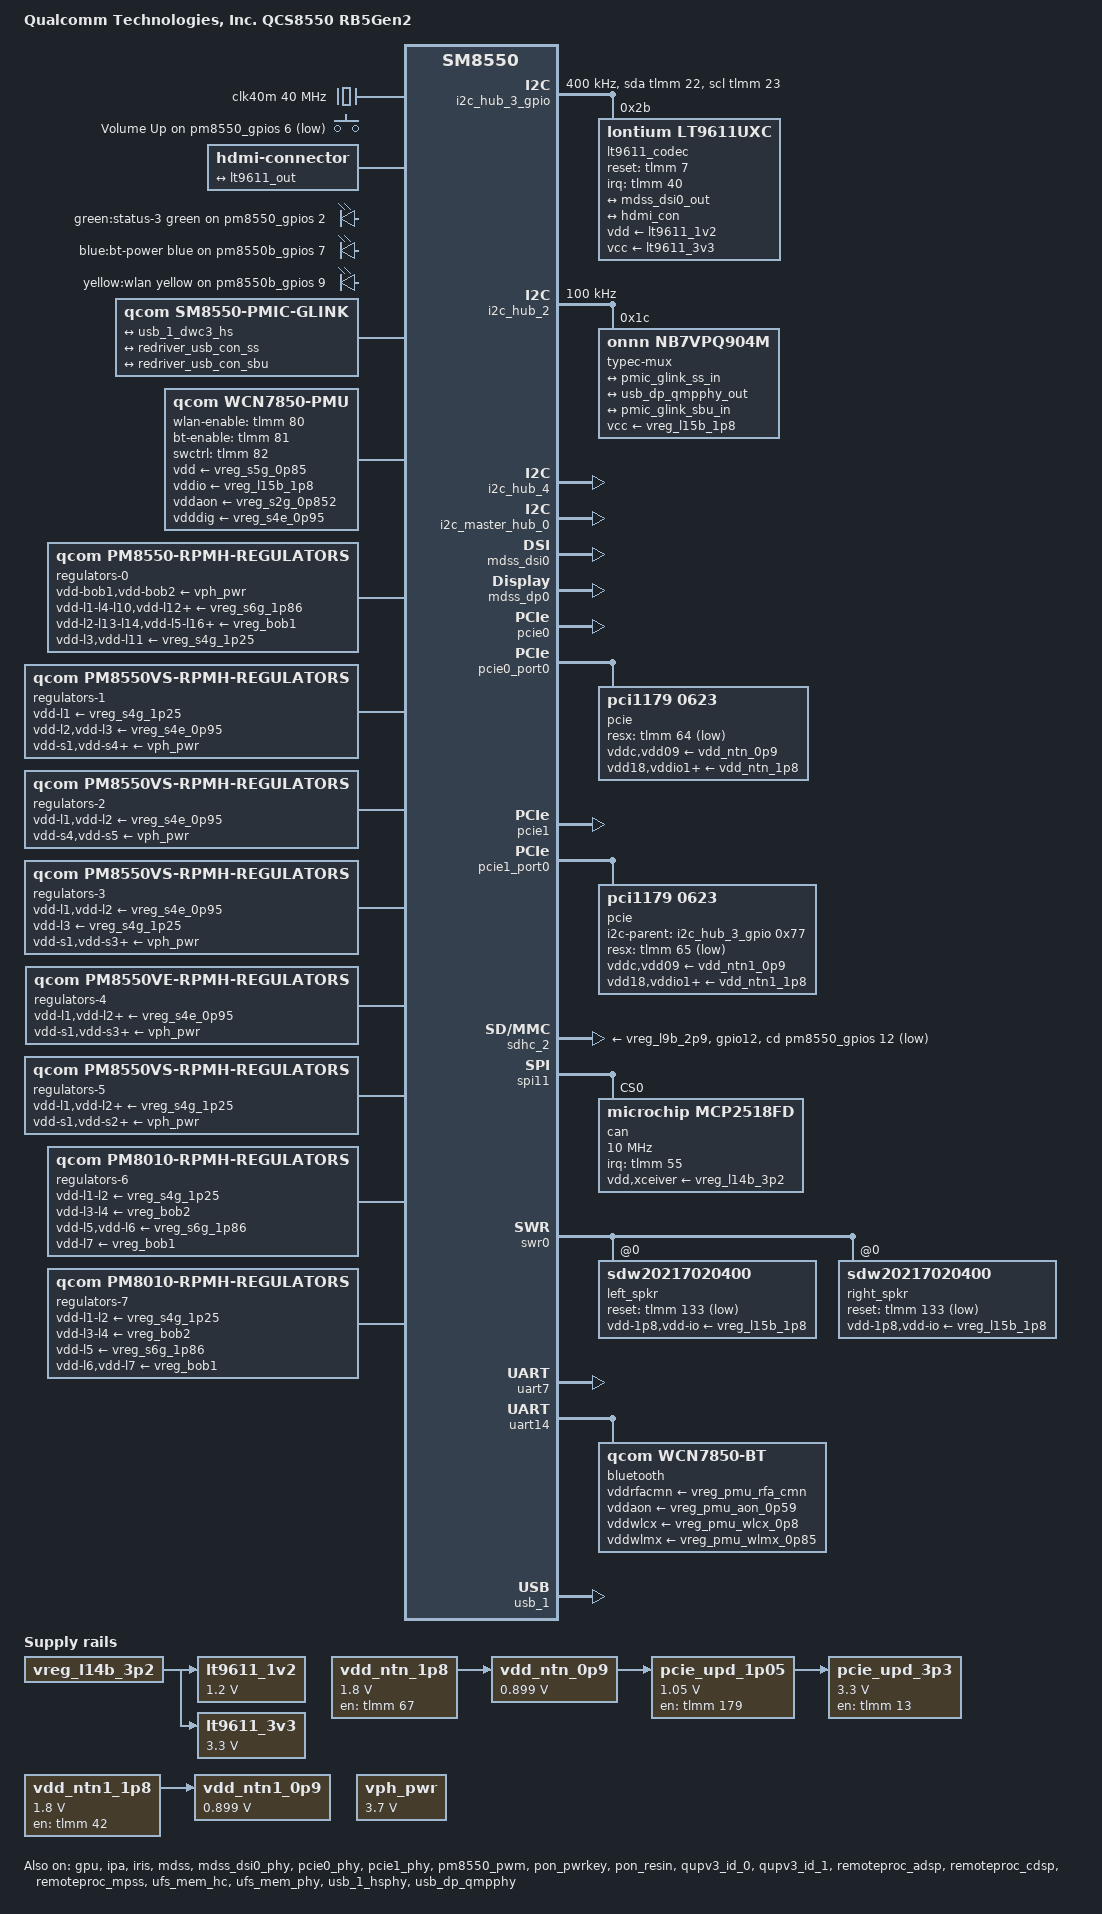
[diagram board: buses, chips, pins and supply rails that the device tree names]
// SPDX-License-Identifier: BSD-3-Clause
/*
 * Copyright (c) 2026 Axon Enterprise, Inc.
 */

/dts-v1/;

#include <dt-bindings/leds/common.h>
#include <dt-bindings/pinctrl/qcom,pmic-gpio.h>
#include <dt-bindings/regulator/qcom,rpmh-regulator.h>
#include "qcs8550.dtsi"
#include "pm8010.dtsi"
#include "pm8550.dtsi"
#include "pm8550b.dtsi"
#define PMK8550VE_SID 5
#include "pm8550ve.dtsi"
#include "pm8550vs.dtsi"
#include "pmk8550.dtsi"
#include "pmr735d_a.dtsi"
#include "pmr735d_b.dtsi"

/ {
	model = "Qualcomm Technologies, Inc. QCS8550 RB5Gen2";
	compatible = "qcom,qcs8550-rb5gen2", "qcom,qcs8550", "qcom,sm8550";
	chassis-type = "embedded";

	aliases {
		serial0 = &uart7;
	};

	chosen {
		stdout-path = "serial0:115200n8";
	};

	clocks {
		clk40m: can-clk {
			compatible = "fixed-clock";
			clock-frequency = <40000000>;
			#clock-cells = <0>;
		};
	};

	gpio-keys {
		compatible = "gpio-keys";

		pinctrl-0 = <&volume_up_n>;
		pinctrl-names = "default";

		key-volume-up {
			label = "Volume Up";
			linux,code = <KEY_VOLUMEUP>;
			gpios = <&pm8550_gpios 6 GPIO_ACTIVE_LOW>;
			debounce-interval = <15>;
			linux,can-disable;
			wakeup-source;
		};
	};

	hdmi-connector {
		compatible = "hdmi-connector";
		type = "a";

		port {
			hdmi_con: endpoint {
				remote-endpoint = <&lt9611_out>;
			};
		};
	};

	/* Lontium LT9611UXC fails FW upgrade and has timeouts with geni-i2c */
	/* Workaround is to use bit-banged I2C */
	i2c_hub_3_gpio: i2c {
		compatible = "i2c-gpio";

		sda-gpios = <&tlmm 22 (GPIO_ACTIVE_HIGH | GPIO_OPEN_DRAIN)>;
		scl-gpios = <&tlmm 23 (GPIO_ACTIVE_HIGH | GPIO_OPEN_DRAIN)>;
		#address-cells = <1>;
		#size-cells = <0>;
	};

	leds {
		compatible = "gpio-leds";

		led-0 {
			label = "green:status-3";
			function = LED_FUNCTION_STATUS;
			color = <LED_COLOR_ID_GREEN>;
			gpios = <&pm8550_gpios 2 GPIO_ACTIVE_HIGH>;
			default-state = "off";
		};

		led-1 {
			label = "blue:bt-power";
			function = LED_FUNCTION_BLUETOOTH;
			color = <LED_COLOR_ID_BLUE>;
			gpios = <&pm8550b_gpios 7 GPIO_ACTIVE_HIGH>;
			linux,default-trigger = "bluetooth-power";
			default-state = "off";
		};

		led-2 {
			label = "yellow:wlan";
			function = LED_FUNCTION_WLAN;
			color = <LED_COLOR_ID_YELLOW>;
			gpios = <&pm8550b_gpios 9 GPIO_ACTIVE_HIGH>;
			linux,default-trigger = "phy0tx";
			default-state = "off";
		};
	};

	pmic-glink {
		compatible = "qcom,sm8550-pmic-glink", "qcom,pmic-glink";
		#address-cells = <1>;
		#size-cells = <0>;

		connector@0 {
			compatible = "usb-c-connector";
			reg = <0>;
			power-role = "dual";
			data-role = "dual";

			ports {
				#address-cells = <1>;
				#size-cells = <0>;

				port@0 {
					reg = <0>;

					pmic_glink_hs_in: endpoint {
						remote-endpoint = <&usb_1_dwc3_hs>;
					};
				};

				port@1 {
					reg = <1>;

					pmic_glink_ss_in: endpoint {
						remote-endpoint = <&redriver_usb_con_ss>;
					};
				};

				port@2 {
					reg = <2>;

					pmic_glink_sbu_in: endpoint {
						remote-endpoint = <&redriver_usb_con_sbu>;
					};
				};
			};
		};
	};

	lt9611_1v2: regulator-lt9611-1v2 {
		compatible = "regulator-fixed";
		regulator-name = "LT9611_1V2";

		regulator-min-microvolt = <1200000>;
		regulator-max-microvolt = <1200000>;

		vin-supply = <&vreg_l14b_3p2>;
	};

	lt9611_3v3: regulator-lt9611-3v3 {
		compatible = "regulator-fixed";
		regulator-name = "LT9611_3V3";

		regulator-min-microvolt = <3300000>;
		regulator-max-microvolt = <3300000>;

		vin-supply = <&vreg_l14b_3p2>;
	};

	pcie_upd_1p05: regulator-pcie-upd-1p05 {
		compatible = "regulator-fixed";
		regulator-name = "PCIE_UPD_1P05";
		gpio = <&tlmm 179 GPIO_ACTIVE_HIGH>;
		vin-supply = <&vdd_ntn_0p9>;
		regulator-min-microvolt = <1050000>;
		regulator-max-microvolt = <1050000>;
		enable-active-high;
		regulator-enable-ramp-delay = <5000>;
		pinctrl-0 = <&upd_1p05_en>;
		pinctrl-names = "default";
	};

	pcie_upd_3p3: regulator-pcie-upd-3p3 {
		compatible = "regulator-fixed";
		regulator-name = "PCIE_UPD_3P3";
		gpio = <&tlmm 13 GPIO_ACTIVE_HIGH>;
		vin-supply = <&pcie_upd_1p05>;
		regulator-min-microvolt = <3300000>;
		regulator-max-microvolt = <3300000>;
		enable-active-high;
		regulator-enable-ramp-delay = <10000>;
		pinctrl-0 = <&upd_3p3_en>;
		pinctrl-names = "default";
	};

	vdd_ntn_0p9: regulator-vdd-ntn-0p9 {
		compatible = "regulator-fixed";
		regulator-name = "VDD_NTN_0P9";
		vin-supply = <&vdd_ntn_1p8>;
		regulator-min-microvolt = <899400>;
		regulator-max-microvolt = <899400>;
		regulator-enable-ramp-delay = <4300>;
	};

	vdd_ntn_1p8: regulator-vdd-ntn-1p8 {
		compatible = "regulator-fixed";
		regulator-name = "VDD_NTN_1P8";
		gpio = <&tlmm 67 GPIO_ACTIVE_HIGH>;
		regulator-min-microvolt = <1800000>;
		regulator-max-microvolt = <1800000>;
		enable-active-high;
		pinctrl-0 = <&ntn0_en>;
		pinctrl-names = "default";
		regulator-enable-ramp-delay = <10000>;
	};

	vdd_ntn1_0p9: regulator-vdd-ntn1-0p9 {
		compatible = "regulator-fixed";
		regulator-name = "VDD_NTN1_0P9";
		vin-supply = <&vdd_ntn1_1p8>;
		regulator-min-microvolt = <899400>;
		regulator-max-microvolt = <899400>;
		regulator-enable-ramp-delay = <4300>;
	};

	vdd_ntn1_1p8: regulator-vdd-ntn1-1p8 {
		compatible = "regulator-fixed";
		regulator-name = "VDD_NTN1_1P8";
		gpio = <&tlmm 42 GPIO_ACTIVE_HIGH>;
		regulator-min-microvolt = <1800000>;
		regulator-max-microvolt = <1800000>;
		enable-active-high;
		pinctrl-0 = <&ntn1_en>;
		pinctrl-names = "default";
		regulator-enable-ramp-delay = <10000>;
	};

	vph_pwr: regulator-vph-pwr {
		compatible = "regulator-fixed";
		regulator-name = "vph_pwr";
		regulator-min-microvolt = <3700000>;
		regulator-max-microvolt = <3700000>;

		regulator-always-on;
		regulator-boot-on;
	};

	sound {
		compatible = "qcom,sm8550-sndcard", "qcom,sm8450-sndcard";
		model = "QCS8550-RB5Gen2";
		audio-routing = "SpkrLeft IN", "WSA_SPK1 OUT",
				"SpkrRight IN", "WSA_SPK2 OUT",
				"VA DMIC0", "vdd-micb",
				"VA DMIC1", "vdd-micb";

		wsa-dai-link {
			link-name = "WSA Playback";

			codec {
				sound-dai = <&left_spkr>, <&right_spkr>,
					    <&swr0 0>, <&lpass_wsamacro 0>;
			};

			cpu {
				sound-dai = <&q6apmbedai WSA_CODEC_DMA_RX_0>;
			};

			platform {
				sound-dai = <&q6apm>;
			};
		};

		va-dai-link {
			link-name = "VA Capture";

			codec {
				sound-dai = <&lpass_vamacro 0>;
			};

			cpu {
				sound-dai = <&q6apmbedai VA_CODEC_DMA_TX_0>;
			};

			platform {
				sound-dai = <&q6apm>;
			};
		};
	};

	wcn7850-pmu {
		compatible = "qcom,wcn7850-pmu";

		pinctrl-0 = <&wlan_en>, <&bt_default>, <&sw_ctrl_default>,
			    <&pmk8550_sleep_clk>;
		pinctrl-names = "default";

		wlan-enable-gpios = <&tlmm 80 GPIO_ACTIVE_HIGH>;
		bt-enable-gpios = <&tlmm 81 GPIO_ACTIVE_HIGH>;
		swctrl-gpios = <&tlmm 82 GPIO_ACTIVE_HIGH>;

		vdd-supply = <&vreg_s5g_0p85>;
		vddio-supply = <&vreg_l15b_1p8>;
		vddaon-supply = <&vreg_s2g_0p852>;
		vdddig-supply = <&vreg_s4e_0p95>;
		vddrfa1p2-supply = <&vreg_s4g_1p25>;
		vddrfa1p8-supply = <&vreg_s6g_1p86>;

		regulators {
			vreg_pmu_rfa_cmn: ldo0 {
				regulator-name = "vreg_pmu_rfa_cmn";
			};

			vreg_pmu_aon_0p59: ldo1 {
				regulator-name = "vreg_pmu_aon_0p59";
			};

			vreg_pmu_wlcx_0p8: ldo2 {
				regulator-name = "vreg_pmu_wlcx_0p8";
			};

			vreg_pmu_wlmx_0p85: ldo3 {
				regulator-name = "vreg_pmu_wlmx_0p85";
			};

			vreg_pmu_btcmx_0p85: ldo4 {
				regulator-name = "vreg_pmu_btcmx_0p85";
			};

			vreg_pmu_rfa_0p8: ldo5 {
				regulator-name = "vreg_pmu_rfa_0p8";
			};

			vreg_pmu_rfa_1p2: ldo6 {
				regulator-name = "vreg_pmu_rfa_1p2";
			};

			vreg_pmu_rfa_1p8: ldo7 {
				regulator-name = "vreg_pmu_rfa_1p8";
			};

			vreg_pmu_pcie_0p9: ldo8 {
				regulator-name = "vreg_pmu_pcie_0p9";
			};

			vreg_pmu_pcie_1p8: ldo9 {
				regulator-name = "vreg_pmu_pcie_1p8";
			};
		};
	};
};

&apps_rsc {
	regulators-0 {
		compatible = "qcom,pm8550-rpmh-regulators";
		qcom,pmic-id = "b";

		vdd-bob1-supply = <&vph_pwr>;
		vdd-bob2-supply = <&vph_pwr>;
		vdd-l1-l4-l10-supply = <&vreg_s6g_1p86>;
		vdd-l2-l13-l14-supply = <&vreg_bob1>;
		vdd-l3-supply = <&vreg_s4g_1p25>;
		vdd-l5-l16-supply = <&vreg_bob1>;
		vdd-l6-l7-supply = <&vreg_bob1>;
		vdd-l8-l9-supply = <&vreg_bob1>;
		vdd-l11-supply = <&vreg_s4g_1p25>;
		vdd-l12-supply = <&vreg_s6g_1p86>;
		vdd-l15-supply = <&vreg_s6g_1p86>;
		vdd-l17-supply = <&vreg_bob2>;

		vreg_bob1: bob1 {
			regulator-name = "vreg_bob1";
			regulator-min-microvolt = <3296000>;
			regulator-max-microvolt = <3960000>;
			regulator-initial-mode = <RPMH_REGULATOR_MODE_HPM>;
		};

		vreg_bob2: bob2 {
			regulator-name = "vreg_bob2";
			regulator-min-microvolt = <2720000>;
			regulator-max-microvolt = <3960000>;
			regulator-initial-mode = <RPMH_REGULATOR_MODE_HPM>;
		};

		vreg_l1b_1p8: ldo1 {
			regulator-name = "vreg_l1b_1p8";
			regulator-min-microvolt = <1710000>;
			regulator-max-microvolt = <1950000>;
			regulator-initial-mode = <RPMH_REGULATOR_MODE_HPM>;
		};

		vreg_l2b_3p0: ldo2 {
			regulator-name = "vreg_l2b_3p0";
			regulator-min-microvolt = <2900000>;
			regulator-max-microvolt = <3544000>;
			regulator-initial-mode = <RPMH_REGULATOR_MODE_HPM>;
		};

		vreg_l5b_3p1: ldo5 {
			regulator-name = "vreg_l5b_3p1";
			regulator-min-microvolt = <3000000>;
			regulator-max-microvolt = <3300000>;
			regulator-initial-mode = <RPMH_REGULATOR_MODE_HPM>;
		};

		vreg_l6b_1p8: ldo6 {
			regulator-name = "vreg_l6b_1p8";
			regulator-min-microvolt = <1700000>;
			regulator-max-microvolt = <3300000>;
			regulator-initial-mode = <RPMH_REGULATOR_MODE_HPM>;
		};

		vreg_l7b_1p8: ldo7 {
			regulator-name = "vreg_l7b_1p8";
			regulator-min-microvolt = <1700000>;
			regulator-max-microvolt = <3300000>;
			regulator-initial-mode = <RPMH_REGULATOR_MODE_HPM>;
		};

		vreg_l8b_1p8: ldo8 {
			regulator-name = "vreg_l8b_1p8";
			regulator-min-microvolt = <1800000>;
			regulator-max-microvolt = <3008000>;
			regulator-initial-mode = <RPMH_REGULATOR_MODE_HPM>;
		};

		vreg_l9b_2p9: ldo9 {
			regulator-name = "vreg_l9b_2p9";
			regulator-min-microvolt = <2960000>;
			regulator-max-microvolt = <3008000>;
			regulator-initial-mode = <RPMH_REGULATOR_MODE_HPM>;
		};

		vreg_l11b_1p2: ldo11 {
			regulator-name = "vreg_l11b_1p2";
			regulator-min-microvolt = <1100000>;
			regulator-max-microvolt = <1300000>;
			regulator-initial-mode = <RPMH_REGULATOR_MODE_HPM>;
		};

		vreg_l12b_1p8: ldo12 {
			regulator-name = "vreg_l12b_1p8";
			regulator-min-microvolt = <1710000>;
			regulator-max-microvolt = <1950000>;
			regulator-initial-mode = <RPMH_REGULATOR_MODE_HPM>;
		};

		vreg_l13b_3p0: ldo13 {
			regulator-name = "vreg_l13b_3p0";
			regulator-min-microvolt = <2700000>;
			regulator-max-microvolt = <3300000>;
			regulator-initial-mode = <RPMH_REGULATOR_MODE_HPM>;
		};

		vreg_l14b_3p2: ldo14 {
			regulator-name = "vreg_l14b_3p2";
			regulator-min-microvolt = <3200000>;
			regulator-max-microvolt = <3300000>;
			regulator-initial-mode = <RPMH_REGULATOR_MODE_HPM>;
			regulator-always-on;
		};

		vreg_l15b_1p8: ldo15 {
			regulator-name = "vreg_l15b_1p8";
			regulator-min-microvolt = <1760000>;
			regulator-max-microvolt = <1800000>;
			regulator-initial-mode = <RPMH_REGULATOR_MODE_HPM>;
		};

		vreg_l16b_2p8: ldo16 {
			regulator-name = "vreg_l16b_2p8";
			regulator-min-microvolt = <2000000>;
			regulator-max-microvolt = <3400000>;
			regulator-initial-mode = <RPMH_REGULATOR_MODE_HPM>;
		};

		vreg_l17b_2p5: ldo17 {
			regulator-name = "vreg_l17b_2p5";
			regulator-min-microvolt = <2400000>;
			regulator-max-microvolt = <3300000>;
			regulator-initial-mode = <RPMH_REGULATOR_MODE_HPM>;
		};
	};

	regulators-1 {
		compatible = "qcom,pm8550vs-rpmh-regulators";
		qcom,pmic-id = "c";

		vdd-l1-supply = <&vreg_s4g_1p25>;
		vdd-l2-supply = <&vreg_s4e_0p95>;
		vdd-l3-supply = <&vreg_s4e_0p95>;
		vdd-s1-supply = <&vph_pwr>;
		vdd-s4-supply = <&vph_pwr>;
		vdd-s6-supply = <&vph_pwr>;

		vreg_l3c_0p9: ldo3 {
			regulator-name = "vreg_l3c_0p9";
			regulator-min-microvolt = <835000>;
			regulator-max-microvolt = <912000>;
			regulator-initial-mode = <RPMH_REGULATOR_MODE_HPM>;
		};
	};

	regulators-2 {
		compatible = "qcom,pm8550vs-rpmh-regulators";
		qcom,pmic-id = "d";

		vdd-l1-supply = <&vreg_s4e_0p95>;
		vdd-l2-supply = <&vreg_s4e_0p95>;
		vdd-s4-supply = <&vph_pwr>;
		vdd-s5-supply = <&vph_pwr>;

		vreg_l1d_0p88: ldo1 {
			regulator-name = "vreg_l1d_0p88";
			regulator-min-microvolt = <825000>;
			regulator-max-microvolt = <958000>;
			regulator-initial-mode = <RPMH_REGULATOR_MODE_HPM>;
		};

		vreg_l2d_0p752: ldo2 {
			regulator-name = "vreg_l2d_0p752";
			regulator-min-microvolt = <675000>;
			regulator-max-microvolt = <808000>;
			regulator-initial-mode = <RPMH_REGULATOR_MODE_HPM>;
		};

		vreg_s4d_0p628: smps4 {
			regulator-name = "vreg_s4d_0p628";
			regulator-min-microvolt = <572000>;
			regulator-max-microvolt = <988000>;
			regulator-initial-mode = <RPMH_REGULATOR_MODE_HPM>;
		};

		vreg_s5d_0p728: smps5 {
			regulator-name = "vreg_s5d_0p728";
			regulator-min-microvolt = <572000>;
			regulator-max-microvolt = <988000>;
			regulator-initial-mode = <RPMH_REGULATOR_MODE_HPM>;
		};
	};

	regulators-3 {
		compatible = "qcom,pm8550vs-rpmh-regulators";
		qcom,pmic-id = "e";

		vdd-l1-supply = <&vreg_s4e_0p95>;
		vdd-l2-supply = <&vreg_s4e_0p95>;
		vdd-l3-supply = <&vreg_s4g_1p25>;
		vdd-s1-supply = <&vph_pwr>;
		vdd-s3-supply = <&vph_pwr>;
		vdd-s4-supply = <&vph_pwr>;
		vdd-s5-supply = <&vph_pwr>;
		vdd-s6-supply = <&vph_pwr>;

		vreg_l1e_0p88: ldo1 {
			regulator-name = "vreg_l1e_0p88";
			regulator-min-microvolt = <831000>;
			regulator-max-microvolt = <904000>;
			regulator-initial-mode = <RPMH_REGULATOR_MODE_HPM>;
		};

		vreg_l2e_0p9: ldo2 {
			regulator-name = "vreg_l2e_0p9";
			regulator-min-microvolt = <870000>;
			regulator-max-microvolt = <970000>;
			regulator-initial-mode = <RPMH_REGULATOR_MODE_HPM>;
		};

		vreg_l3e_1p2: ldo3 {
			regulator-name = "vreg_l3e_1p2";
			regulator-min-microvolt = <1200000>;
			regulator-max-microvolt = <1200000>;
			regulator-initial-mode = <RPMH_REGULATOR_MODE_HPM>;
		};

		vreg_s1e_0p72: smps1 {
			regulator-name = "vreg_s1e_0p72";
			regulator-min-microvolt = <532000>;
			regulator-max-microvolt = <852000>;
			regulator-initial-mode = <RPMH_REGULATOR_MODE_HPM>;
		};

		vreg_s3e_0p75: smps3 {
			regulator-name = "vreg_s3e_0p75";
			regulator-min-microvolt = <716000>;
			regulator-max-microvolt = <884000>;
			regulator-initial-mode = <RPMH_REGULATOR_MODE_HPM>;
		};

		vreg_s4e_0p95: smps4 {
			regulator-name = "vreg_s4e_0p95";
			regulator-min-microvolt = <870100>;
			regulator-max-microvolt = <1152000>;
			regulator-initial-mode = <RPMH_REGULATOR_MODE_HPM>;
		};

		vreg_s5e_1p08: smps5 {
			regulator-name = "vreg_s5e_1p08";
			regulator-min-microvolt = <1010000>;
			regulator-max-microvolt = <1120000>;
			regulator-initial-mode = <RPMH_REGULATOR_MODE_HPM>;
		};

		vreg_s6e_0p728: smps6 {
			regulator-name = "vreg_s6e_0p728";
			regulator-min-microvolt = <528000>;
			regulator-max-microvolt = <904000>;
			regulator-initial-mode = <RPMH_REGULATOR_MODE_HPM>;
		};
	};

	regulators-4 {
		compatible = "qcom,pm8550ve-rpmh-regulators";
		qcom,pmic-id = "f";

		vdd-l1-supply = <&vreg_s4e_0p95>;
		vdd-l2-supply = <&vreg_s4e_0p95>;
		vdd-l3-supply = <&vreg_s4e_0p95>;
		vdd-s1-supply = <&vph_pwr>;
		vdd-s3-supply = <&vph_pwr>;
		vdd-s4-supply = <&vph_pwr>;
		vdd-s5-supply = <&vph_pwr>;
		vdd-s7-supply = <&vph_pwr>;

		vreg_l1f_0p9: ldo1 {
			regulator-name = "vreg_l1f_0p9";
			regulator-min-microvolt = <866000>;
			regulator-max-microvolt = <958000>;
			regulator-initial-mode = <RPMH_REGULATOR_MODE_HPM>;
		};

		vreg_l2f_0p88: ldo2 {
			regulator-name = "vreg_l2f_0p88";
			regulator-min-microvolt = <866000>;
			regulator-max-microvolt = <880000>;
			regulator-initial-mode = <RPMH_REGULATOR_MODE_HPM>;
		};

		vreg_l3f_0p88: ldo3 {
			regulator-name = "vreg_l3f_0p88";
			regulator-min-microvolt = <830000>;
			regulator-max-microvolt = <920000>;
			regulator-initial-mode = <RPMH_REGULATOR_MODE_HPM>;
		};

		vreg_s1f_0p728: smps1 {
			regulator-name = "vreg_s1f_0p728";
			regulator-min-microvolt = <516000>;
			regulator-max-microvolt = <904000>;
			regulator-initial-mode = <RPMH_REGULATOR_MODE_HPM>;
		};

		vreg_s3f_0p852: smps3 {
			regulator-name = "vreg_s3f_0p852";
			regulator-min-microvolt = <688000>;
			regulator-max-microvolt = <952000>;
			regulator-initial-mode = <RPMH_REGULATOR_MODE_HPM>;
		};

		vreg_s4f_0p5: smps4 {
			regulator-name = "vreg_s4f_0p5";
			regulator-min-microvolt = <300000>;
			regulator-max-microvolt = <500000>;
			regulator-initial-mode = <RPMH_REGULATOR_MODE_HPM>;
		};

		vreg_s5f_0p752: smps5 {
			regulator-name = "vreg_s5f_0p752";
			regulator-min-microvolt = <716000>;
			regulator-max-microvolt = <884000>;
			regulator-initial-mode = <RPMH_REGULATOR_MODE_HPM>;
		};

		vreg_s7f_0p628: smps7 {
			regulator-name = "vreg_s7f_0p628";
			regulator-min-microvolt = <516000>;
			regulator-max-microvolt = <812000>;
			regulator-initial-mode = <RPMH_REGULATOR_MODE_HPM>;
		};
	};

	regulators-5 {
		compatible = "qcom,pm8550vs-rpmh-regulators";
		qcom,pmic-id = "g";

		vdd-l1-supply = <&vreg_s4g_1p25>;
		vdd-l2-supply = <&vreg_s4g_1p25>;
		vdd-l3-supply = <&vreg_s4g_1p25>;
		vdd-s1-supply = <&vph_pwr>;
		vdd-s2-supply = <&vph_pwr>;
		vdd-s3-supply = <&vph_pwr>;
		vdd-s4-supply = <&vph_pwr>;
		vdd-s5-supply = <&vph_pwr>;
		vdd-s6-supply = <&vph_pwr>;

		vreg_l1g_1p2: ldo1 {
			regulator-name = "vreg_l1g_1p2";
			regulator-min-microvolt = <1140000>;
			regulator-max-microvolt = <1260000>;
			regulator-initial-mode = <RPMH_REGULATOR_MODE_HPM>;
		};

		vreg_l3g_1p2: ldo3 {
			regulator-name = "vreg_l3g_1p2";
			regulator-min-microvolt = <1200000>;
			regulator-max-microvolt = <1200000>;
			regulator-initial-mode = <RPMH_REGULATOR_MODE_HPM>;
		};

		vreg_s1g_1p256: smps1 {
			regulator-name = "vreg_s1g_1p256";
			regulator-min-microvolt = <1172000>;
			regulator-max-microvolt = <1388000>;
			regulator-initial-mode = <RPMH_REGULATOR_MODE_HPM>;
		};

		vreg_s2g_0p852: smps2 {
			regulator-name = "vreg_s2g_0p852";
			regulator-min-microvolt = <500000>;
			regulator-max-microvolt = <1053200>;
			regulator-initial-mode = <RPMH_REGULATOR_MODE_HPM>;
		};

		vreg_s3g_0p752: smps3 {
			regulator-name = "vreg_s3g_0p752";
			regulator-min-microvolt = <532000>;
			regulator-max-microvolt = <1148000>;
			regulator-initial-mode = <RPMH_REGULATOR_MODE_HPM>;
		};

		vreg_s4g_1p25: smps4 {
			regulator-name = "vreg_s4g_1p25";
			regulator-min-microvolt = <1172000>;
			regulator-max-microvolt = <1800000>;
			regulator-initial-mode = <RPMH_REGULATOR_MODE_HPM>;
		};

		vreg_s5g_0p85: smps5 {
			regulator-name = "vreg_s5g_0p85";
			regulator-min-microvolt = <800000>;
			regulator-max-microvolt = <1002600>;
			regulator-initial-mode = <RPMH_REGULATOR_MODE_HPM>;
		};

		vreg_s6g_1p86: smps6 {
			regulator-name = "vreg_s6g_1p86";
			regulator-min-microvolt = <1800000>;
			regulator-max-microvolt = <2192000>;
			regulator-initial-mode = <RPMH_REGULATOR_MODE_HPM>;
		};
	};

	regulators-6 {
		compatible = "qcom,pm8010-rpmh-regulators";

		vdd-l1-l2-supply = <&vreg_s4g_1p25>;
		vdd-l3-l4-supply = <&vreg_bob2>;
		vdd-l5-supply = <&vreg_s6g_1p86>;
		vdd-l6-supply = <&vreg_s6g_1p86>;
		vdd-l7-supply = <&vreg_bob1>;

		qcom,pmic-id = "m";

		vreg_l1m_1p056: ldo1 {
			regulator-name = "vreg_l1m_1p056";
			regulator-min-microvolt = <1056000>;
			regulator-max-microvolt = <1056000>;
			regulator-initial-mode = <RPMH_REGULATOR_MODE_HPM>;
			regulator-allow-set-load;
			regulator-allowed-modes = <RPMH_REGULATOR_MODE_LPM
						   RPMH_REGULATOR_MODE_HPM>;
		};

		vreg_l2m_1p056: ldo2 {
			regulator-name = "vreg_l2m_1p056";
			regulator-min-microvolt = <1056000>;
			regulator-max-microvolt = <1056000>;
			regulator-initial-mode = <RPMH_REGULATOR_MODE_HPM>;
			regulator-allow-set-load;
			regulator-allowed-modes = <RPMH_REGULATOR_MODE_LPM
						   RPMH_REGULATOR_MODE_HPM>;
		};

		vreg_l3m_2p8: ldo3 {
			regulator-name = "vreg_l3m_2p8";
			regulator-min-microvolt = <2800000>;
			regulator-max-microvolt = <2800000>;
			regulator-initial-mode = <RPMH_REGULATOR_MODE_HPM>;
		};

		vreg_l4m_2p8: ldo4 {
			regulator-name = "vreg_l4m_2p8";
			regulator-min-microvolt = <2800000>;
			regulator-max-microvolt = <2800000>;
			regulator-initial-mode = <RPMH_REGULATOR_MODE_HPM>;
		};

		vreg_l5m_1p8: ldo5 {
			regulator-name = "vreg_l5m_1p8";
			regulator-min-microvolt = <1800000>;
			regulator-max-microvolt = <1800000>;
			regulator-initial-mode = <RPMH_REGULATOR_MODE_HPM>;
		};

		vreg_l6m_1p8: ldo6 {
			regulator-name = "vreg_l6m_1p8";
			regulator-min-microvolt = <1800000>;
			regulator-max-microvolt = <1800000>;
			regulator-initial-mode = <RPMH_REGULATOR_MODE_HPM>;
		};

		vreg_l7m_2p9: ldo7 {
			regulator-name = "vreg_l7m_2p9";
			regulator-min-microvolt = <2800000>;
			regulator-max-microvolt = <2904000>;
			regulator-initial-mode = <RPMH_REGULATOR_MODE_HPM>;
		};
	};

	regulators-7 {
		compatible = "qcom,pm8010-rpmh-regulators";

		vdd-l1-l2-supply = <&vreg_s4g_1p25>;
		vdd-l3-l4-supply = <&vreg_bob2>;
		vdd-l5-supply = <&vreg_s6g_1p86>;
		vdd-l6-supply = <&vreg_bob1>;
		vdd-l7-supply = <&vreg_bob1>;

		qcom,pmic-id = "n";

		vreg_l1n_1p1: ldo1 {
			regulator-name = "vreg_l1n_1p1";
			regulator-min-microvolt = <1104000>;
			regulator-max-microvolt = <1200000>;
			regulator-initial-mode = <RPMH_REGULATOR_MODE_HPM>;
			regulator-allow-set-load;
			regulator-allowed-modes = <RPMH_REGULATOR_MODE_LPM
						   RPMH_REGULATOR_MODE_HPM>;
		};

		vreg_l2n_1p1: ldo2 {
			regulator-name = "vreg_l2n_1p1";
			regulator-min-microvolt = <1104000>;
			regulator-max-microvolt = <1200000>;
			regulator-initial-mode = <RPMH_REGULATOR_MODE_HPM>;
			regulator-allow-set-load;
			regulator-allowed-modes = <RPMH_REGULATOR_MODE_LPM
						   RPMH_REGULATOR_MODE_HPM>;
		};

		vreg_l3n_2p8: ldo3 {
			regulator-name = "vreg_l3n_2p8";
			regulator-min-microvolt = <2800000>;
			regulator-max-microvolt = <3000000>;
			regulator-initial-mode = <RPMH_REGULATOR_MODE_HPM>;
		};

		vreg_l4n_2p8: ldo4 {
			regulator-name = "vreg_l4n_2p8";
			regulator-min-microvolt = <2800000>;
			regulator-max-microvolt = <3300000>;
			regulator-initial-mode = <RPMH_REGULATOR_MODE_HPM>;
		};

		vreg_l5n_1p8: ldo5 {
			regulator-name = "vreg_l5n_1p8";
			regulator-min-microvolt = <1800000>;
			regulator-max-microvolt = <1800000>;
			regulator-initial-mode = <RPMH_REGULATOR_MODE_HPM>;
		};

		vreg_l6n_3p3: ldo6 {
			regulator-name = "vreg_l6n_3p3";
			regulator-min-microvolt = <3200000>;
			regulator-max-microvolt = <3200000>;
			regulator-initial-mode = <RPMH_REGULATOR_MODE_HPM>;
		};

		vreg_l7n_2p96: ldo7 {
			regulator-name = "vreg_l7n_2p96";
			regulator-min-microvolt = <2800000>;
			regulator-max-microvolt = <2960000>;
			regulator-initial-mode = <RPMH_REGULATOR_MODE_HPM>;
		};
	};
};

&gpi_dma1 {
	status = "okay";
};

&gpi_dma2 {
	status = "okay";
};

&gpu {
	status = "okay";
};

&gpu_zap_shader {
	firmware-name = "qcom/sm8550/a740_zap.mbn";
};

&i2c_hub_2 {
	clock-frequency = <100000>;

	status = "okay";

	typec-mux@1c {
		compatible = "onnn,nb7vpq904m";
		reg = <0x1c>;

		vcc-supply = <&vreg_l15b_1p8>;

		retimer-switch;
		orientation-switch;

		ports {
			#address-cells = <1>;
			#size-cells = <0>;

			port@0 {
				reg = <0>;

				redriver_usb_con_ss: endpoint {
					remote-endpoint = <&pmic_glink_ss_in>;
				};
			};

			port@1 {
				reg = <1>;

				redriver_phy_con_ss: endpoint {
					remote-endpoint = <&usb_dp_qmpphy_out>;
					data-lanes = <0 1 2 3>;
				};
			};

			port@2 {
				reg = <2>;

				redriver_usb_con_sbu: endpoint {
					remote-endpoint = <&pmic_glink_sbu_in>;
				};
			};
		};
	};
};

&i2c_hub_3_gpio {
	clock-frequency = <400000>;

	status = "okay";

	lt9611_codec: hdmi-bridge@2b {
		compatible = "lontium,lt9611uxc";
		reg = <0x2b>;

		interrupts-extended = <&tlmm 40 IRQ_TYPE_EDGE_FALLING>;
		reset-gpios = <&tlmm 7 GPIO_ACTIVE_HIGH>;

		vdd-supply = <&lt9611_1v2>;
		vcc-supply = <&lt9611_3v3>;

		pinctrl-0 = <&lt9611_irq_pin>, <&lt9611_rst_pin>;
		pinctrl-names = "default";

		ports {
			#address-cells = <1>;
			#size-cells = <0>;

			port@0 {
				reg = <0>;

				lt9611_a: endpoint {
					remote-endpoint = <&mdss_dsi0_out>;
				};
			};

			port@2 {
				reg = <2>;

				lt9611_out: endpoint {
					remote-endpoint = <&hdmi_con>;
				};
			};
		};
	};
};

&i2c_hub_4 {
	status = "okay";
};

&i2c_master_hub_0 {
	status = "okay";
};

&ipa {
	firmware-name = "qcom/sm8550/ipa_fws.mbn";

	status = "okay";
};

&iris {
	status = "okay";
};

&lpass_vamacro {
	pinctrl-0 = <&dmic01_default>;
	pinctrl-names = "default";

	qcom,dmic-sample-rate = <4800000>;

	vdd-micb-supply = <&vreg_l15b_1p8>;
};

&mdss {
	status = "okay";
};

&mdss_dsi0 {
	vdda-supply = <&vreg_l3e_1p2>;

	status = "okay";
};

&mdss_dsi0_out {
	remote-endpoint = <&lt9611_a>;
	data-lanes = <0 1 2 3>;
};

&mdss_dsi0_phy {
	vdds-supply = <&vreg_l1e_0p88>;

	status = "okay";
};

&mdss_dp0 {
	status = "okay";
};

&pcie0 {
	vddpe-3v3-supply = <&pcie_upd_3p3>;

	wake-gpios = <&tlmm 96 GPIO_ACTIVE_HIGH>;
	perst-gpios = <&tlmm 94 GPIO_ACTIVE_LOW>;

	pinctrl-0 = <&pcie0_default_state>;
	pinctrl-names = "default";

	iommu-map = <0x0 &apps_smmu 0x1400 0x1>,
		    <0x100 &apps_smmu 0x1401 0x1>,
		    <0x208 &apps_smmu 0x1402 0x1>,
		    <0x210 &apps_smmu 0x1403 0x1>,
		    <0x218 &apps_smmu 0x1404 0x1>,
		    <0x300 &apps_smmu 0x1407 0x1>,
		    <0x400 &apps_smmu 0x1408 0x1>,
		    <0x500 &apps_smmu 0x140c 0x1>,
		    <0x501 &apps_smmu 0x140e 0x1>;

	/delete-property/ msi-map;

	status = "okay";
};

&pcie0_phy {
	vdda-phy-supply = <&vreg_l1e_0p88>;
	vdda-pll-supply = <&vreg_l3e_1p2>;

	status = "okay";
};

&pcie0_port0 {
	pcie@0,0 {
		compatible = "pci1179,0623";
		reg = <0x10000 0x0 0x0 0x0 0x0>;
		#address-cells = <3>;
		#size-cells = <2>;

		device_type = "pci";
		ranges;
		bus-range = <0x2 0xff>;

		vddc-supply = <&vdd_ntn_0p9>;
		vdd18-supply = <&vdd_ntn_1p8>;
		vdd09-supply = <&vdd_ntn_0p9>;
		vddio1-supply = <&vdd_ntn_1p8>;
		vddio2-supply = <&vdd_ntn_1p8>;
		vddio18-supply = <&vdd_ntn_1p8>;

		i2c-parent = <&i2c_hub_4 0x77>;

		resx-gpios = <&tlmm 64 GPIO_ACTIVE_LOW>;

		pinctrl-0 = <&tc9563_0_rst>, <&upd_ponrst>;
		pinctrl-names = "default";

		pcie@1,0 {
			reg = <0x20800 0x0 0x0 0x0 0x0>;
			#address-cells = <3>;
			#size-cells = <2>;

			device_type = "pci";
			ranges;
			bus-range = <0x3 0xff>;
		};

		pcie@2,0 {
			reg = <0x21000 0x0 0x0 0x0 0x0>;
			#address-cells = <3>;
			#size-cells = <2>;

			device_type = "pci";
			ranges;
			bus-range = <0x4 0xff>;
		};

		pcie@3,0 {
			reg = <0x21800 0x0 0x0 0x0 0x0>;
			#address-cells = <3>;
			#size-cells = <2>;
			device_type = "pci";
			ranges;
			bus-range = <0x5 0xff>;

			pci@0,0 {
				reg = <0x50000 0x0 0x0 0x0 0x0>;
				#address-cells = <3>;
				#size-cells = <2>;
				device_type = "pci";
				ranges;
			};

			pci@0,1 {
				reg = <0x50100 0x0 0x0 0x0 0x0>;
				#address-cells = <3>;
				#size-cells = <2>;
				device_type = "pci";
				ranges;
			};
		};
	};
};

&pcie1 {
	wake-gpios = <&tlmm 99 GPIO_ACTIVE_HIGH>;
	perst-gpios = <&tlmm 97 GPIO_ACTIVE_LOW>;

	pinctrl-0 = <&pcie1_default_state>;
	pinctrl-names = "default";

	iommu-map = <0x0 &apps_smmu 0x1480 0x1>,
		    <0x100 &apps_smmu 0x1481 0x1>,
		    <0x208 &apps_smmu 0x1482 0x1>,
		    <0x210 &apps_smmu 0x1483 0x1>,
		    <0x218 &apps_smmu 0x1484 0x1>,
		    <0x300 &apps_smmu 0x1487 0x1>,
		    <0x400 &apps_smmu 0x1488 0x1>,
		    <0x500 &apps_smmu 0x148c 0x1>,
		    <0x501 &apps_smmu 0x148e 0x1>;

	/delete-property/ msi-map;

	status = "okay";
};

&pcie1_phy {
	vdda-phy-supply = <&vreg_l3c_0p9>;
	vdda-pll-supply = <&vreg_l3e_1p2>;
	vdda-qref-supply = <&vreg_l1e_0p88>;

	status = "okay";
};

&pcie1_port0 {
	pcie@0,0 {
		compatible = "pci1179,0623";
		reg = <0x10000 0x0 0x0 0x0 0x0>;
		#address-cells = <3>;
		#size-cells = <2>;

		device_type = "pci";
		ranges;
		bus-range = <0x2 0xff>;

		vddc-supply = <&vdd_ntn1_0p9>;
		vdd18-supply = <&vdd_ntn1_1p8>;
		vdd09-supply = <&vdd_ntn1_0p9>;
		vddio1-supply = <&vdd_ntn1_1p8>;
		vddio2-supply = <&vdd_ntn1_1p8>;
		vddio18-supply = <&vdd_ntn1_1p8>;

		i2c-parent = <&i2c_hub_3_gpio 0x77>;

		resx-gpios = <&tlmm 65 GPIO_ACTIVE_LOW>;

		pinctrl-0 = <&tc9563_1_rst>;
		pinctrl-names = "default";

		pcie@1,0 {
			reg = <0x20800 0x0 0x0 0x0 0x0>;
			#address-cells = <3>;
			#size-cells = <2>;

			device_type = "pci";
			ranges;
			bus-range = <0x3 0xff>;
		};

		pcie@2,0 {
			reg = <0x21000 0x0 0x0 0x0 0x0>;
			#address-cells = <3>;
			#size-cells = <2>;

			device_type = "pci";
			ranges;
			bus-range = <0x4 0xff>;

			wifi@0 {
				compatible = "pci17cb,1107";
				reg = <0x40000 0x0 0x0 0x0 0x0>;

				vddrfacmn-supply = <&vreg_pmu_rfa_cmn>;
				vddaon-supply = <&vreg_pmu_aon_0p59>;
				vddwlcx-supply = <&vreg_pmu_wlcx_0p8>;
				vddwlmx-supply = <&vreg_pmu_wlmx_0p85>;
				vddrfa0p8-supply = <&vreg_pmu_rfa_0p8>;
				vddrfa1p2-supply = <&vreg_pmu_rfa_1p2>;
				vddrfa1p8-supply = <&vreg_pmu_rfa_1p8>;
				vddpcie0p9-supply = <&vreg_pmu_pcie_0p9>;
				vddpcie1p8-supply = <&vreg_pmu_pcie_1p8>;
			};
		};

		pcie@3,0 {
			reg = <0x21800 0x0 0x0 0x0 0x0>;
			#address-cells = <3>;
			#size-cells = <2>;
			device_type = "pci";
			ranges;
			bus-range = <0x5 0xff>;
		};
	};
};

&pm8550_gpios {
	volume_up_n: volume-up-n-state {
		pins = "gpio6";
		function = "normal";
		power-source = <1>;
		bias-pull-up;
		input-enable;
	};

	sdc2_card_det_n: sdc2-card-det-state {
		pins = "gpio12";
		function = "normal";
		power-source = <1>;
		bias-pull-up;
		input-enable;
	};
};

&pm8550_pwm {
	#address-cells = <1>;
	#size-cells = <0>;

	status = "okay";

	led@1 {
		reg = <1>;
		color = <LED_COLOR_ID_GREEN>;
		function = LED_FUNCTION_STATUS;
		function-enumerator = <0>;
		linux,default-trigger = "none";
		default-state = "off";
	};

	led@2 {
		reg = <2>;
		color = <LED_COLOR_ID_GREEN>;
		function = LED_FUNCTION_STATUS;
		function-enumerator = <1>;
		linux,default-trigger = "none";
		default-state = "off";
	};

	led@3 {
		reg = <3>;
		color = <LED_COLOR_ID_GREEN>;
		function = LED_FUNCTION_STATUS;
		function-enumerator = <2>;
		linux,default-trigger = "none";
		default-state = "off";
	};
};

&pm8550b_eusb2_repeater {
	vdd18-supply = <&vreg_l15b_1p8>;
	vdd3-supply = <&vreg_l5b_3p1>;
};

&pmk8550_gpios {
	pmk8550_sleep_clk: sleep-clk-state {
		pins = "gpio3";
		function = "func1";
		input-disable;
		output-enable;
		bias-disable;
		power-source = <0>;
	};
};

&pon_pwrkey {
	status = "okay";
};

&pon_resin {
	linux,code = <KEY_VOLUMEDOWN>;

	status = "okay";
};

&qupv3_id_0 {
	status = "okay";
};

&qupv3_id_1 {
	status = "okay";
};

&remoteproc_adsp {
	firmware-name = "qcom/sm8550/adsp.mbn",
			"qcom/sm8550/adsp_dtb.mbn";
	status = "okay";
};

&remoteproc_cdsp {
	firmware-name = "qcom/sm8550/cdsp.mbn",
			"qcom/sm8550/cdsp_dtb.mbn";
	status = "okay";
};

&remoteproc_mpss {
	firmware-name = "qcom/sm8550/modem.mbn",
			"qcom/sm8550/modem_dtb.mbn";
	status = "okay";
};

&sdhc_2 {
	cd-gpios = <&pm8550_gpios 12 GPIO_ACTIVE_LOW>;

	pinctrl-0 = <&sdc2_default>, <&sdc2_card_det_n>;
	pinctrl-1 = <&sdc2_sleep>, <&sdc2_card_det_n>;
	pinctrl-names = "default", "sleep";

	vmmc-supply = <&vreg_l9b_2p9>;
	vqmmc-supply = <&vreg_l8b_1p8>;

	no-sdio;
	no-mmc;

	status = "okay";
};

&sleep_clk {
	clock-frequency = <32764>;
};

&spi11 {
	status = "okay";

	can@0 {
		compatible = "microchip,mcp2518fd";
		reg = <0>;
		interrupts-extended = <&tlmm 55 IRQ_TYPE_LEVEL_LOW>;
		clocks = <&clk40m>;
		spi-max-frequency = <10000000>;
		vdd-supply = <&vreg_l14b_3p2>;
		xceiver-supply = <&vreg_l14b_3p2>;
	};
};

&swr0 {
	status = "okay";

	left_spkr: speaker@0,0 {
		compatible = "sdw20217020400";
		reg = <0 0>;

		reset-gpios = <&tlmm 133 GPIO_ACTIVE_LOW>;

		vdd-1p8-supply = <&vreg_l15b_1p8>;
		vdd-io-supply = <&vreg_l15b_1p8>;

		#sound-dai-cells = <0>;
		sound-name-prefix = "SpkrLeft";
		qcom,port-mapping = <1 2 3 7 10 13>;
	};

	right_spkr: speaker@0,1 {
		compatible = "sdw20217020400";
		reg = <0 1>;

		reset-gpios = <&tlmm 133 GPIO_ACTIVE_LOW>;

		vdd-1p8-supply = <&vreg_l15b_1p8>;
		vdd-io-supply = <&vreg_l15b_1p8>;

		#sound-dai-cells = <0>;
		sound-name-prefix = "SpkrRight";
		qcom,port-mapping = <4 5 6 7 11 13>;
	};
};

&tlmm {
	/* 32-35 for NFC secure element */
	/* 36-39 for fingerprint sensor */
	gpio-reserved-ranges = <32 8>;

	lt9611_rst_pin: lt9611-rst-state {
		pins = "gpio7";
		function = "gpio";
	};

	upd_3p3_en: upd-3p3-en-state {
		pins = "gpio13";
		function = "gpio";
		drive-strength = <2>;
		bias-disable;
	};

	lt9611_irq_pin: lt9611-irq-state {
		pins = "gpio40";
		function = "gpio";
		bias-disable;
	};

	ntn1_en: ntn1-en-state {
		pins = "gpio42";
		function = "gpio";
		drive-strength = <2>;
		bias-disable;
	};

	tc9563_0_rst: tc9563-0-rst-state {
		pins = "gpio64";
		function = "gpio";
		drive-strength = <2>;
		bias-disable;
	};

	tc9563_1_rst: tc9563-1-rst-state {
		pins = "gpio65";
		function = "gpio";
		drive-strength = <2>;
		bias-disable;
	};

	ntn0_en: ntn0-en-state {
		pins = "gpio67";
		function = "gpio";
		drive-strength = <2>;
		bias-disable;
	};

	wlan_en: wlan-en-state {
		pins = "gpio80";
		function = "gpio";
		drive-strength = <8>;
		bias-pull-down;
	};

	bt_default: bt-default-state {
		pins = "gpio81";
		function = "gpio";
		drive-strength = <16>;
		bias-disable;
	};

	sw_ctrl_default: sw-ctrl-default-state {
		pins = "gpio82";
		function = "gpio";
		bias-pull-down;
	};

	upd_1p05_en: upd-1p05-en-state {
		pins = "gpio179";
		function = "gpio";
		drive-strength = <2>;
		bias-disable;
	};

	upd_ponrst: upd-ponrst-state {
		pins = "gpio182";
		function = "gpio";
		drive-strength = <2>;
		output-high;
	};
};

&uart7 {
	status = "okay";
};

&uart14 {
	status = "okay";

	bluetooth {
		compatible = "qcom,wcn7850-bt";

		vddrfacmn-supply = <&vreg_pmu_rfa_cmn>;
		vddaon-supply = <&vreg_pmu_aon_0p59>;
		vddwlcx-supply = <&vreg_pmu_wlcx_0p8>;
		vddwlmx-supply = <&vreg_pmu_wlmx_0p85>;
		vddrfa0p8-supply = <&vreg_pmu_rfa_0p8>;
		vddrfa1p2-supply = <&vreg_pmu_rfa_1p2>;
		vddrfa1p8-supply = <&vreg_pmu_rfa_1p8>;
	};
};

&ufs_mem_hc {
	reset-gpios = <&tlmm 210 GPIO_ACTIVE_LOW>;
	vcc-supply = <&vreg_l17b_2p5>;
	vcc-max-microamp = <1300000>;
	vccq-supply = <&vreg_l1g_1p2>;
	vccq-max-microamp = <1200000>;
	vdd-hba-supply = <&vreg_l3g_1p2>;

	status = "okay";
};

&ufs_mem_phy {
	vdda-phy-supply = <&vreg_l1d_0p88>;
	vdda-pll-supply = <&vreg_l3e_1p2>;

	status = "okay";
};

&usb_1 {
	status = "okay";
};

&usb_1_dwc3_hs {
	remote-endpoint = <&pmic_glink_hs_in>;
};

&usb_1_hsphy {
	vdd-supply = <&vreg_l1e_0p88>;
	vdda12-supply = <&vreg_l3e_1p2>;

	phys = <&pm8550b_eusb2_repeater>;

	status = "okay";
};

&usb_dp_qmpphy {
	vdda-phy-supply = <&vreg_l3e_1p2>;
	vdda-pll-supply = <&vreg_l3f_0p88>;

	status = "okay";
};

&usb_dp_qmpphy_out {
	remote-endpoint = <&redriver_phy_con_ss>;
};

&xo_board {
	clock-frequency = <76800000>;
};
